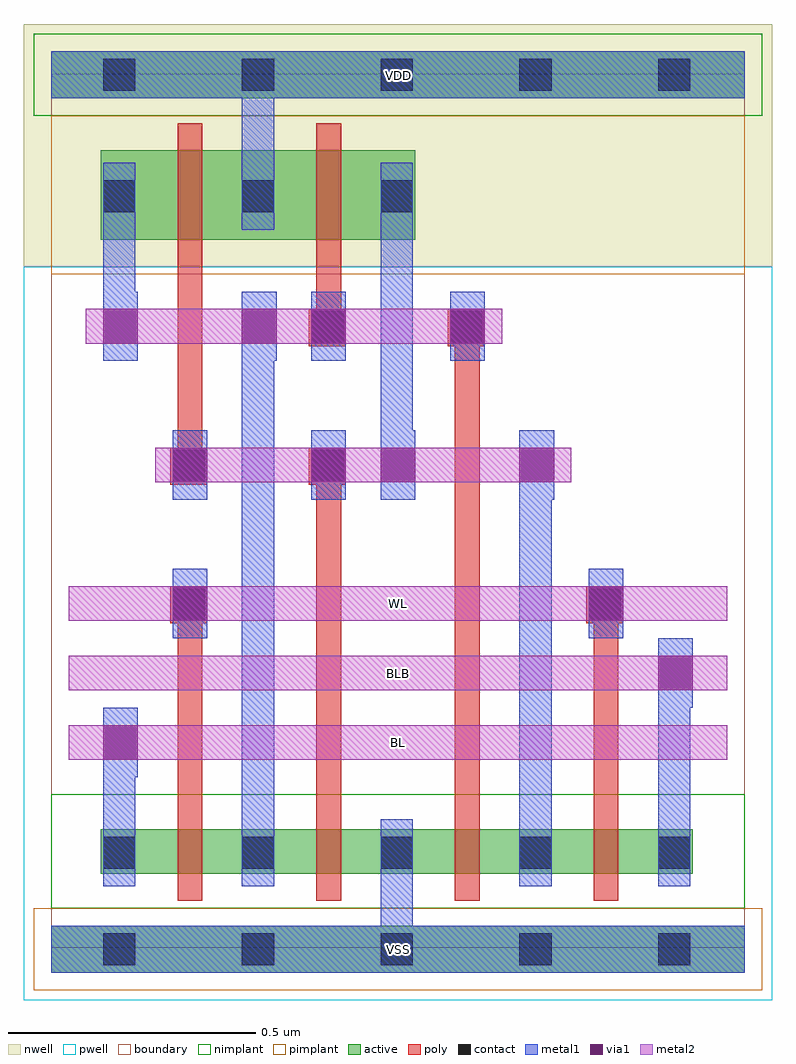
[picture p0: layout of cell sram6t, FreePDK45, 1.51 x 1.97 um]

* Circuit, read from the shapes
.subckt sram6t BL BLB VDD VSS WL
M1 n1 WL BL VSS nfet w=0.09u l=0.05u
M2 VSS n2 n1 VSS nfet w=0.09u l=0.05u
M3 n2 n1 VSS VSS nfet w=0.09u l=0.05u
M4 BLB WL n2 VSS nfet w=0.09u l=0.05u
M5 VDD n2 n1 VDD pfet w=0.18u l=0.05u
M6 n2 n1 VDD VDD pfet w=0.18u l=0.05u
.ends

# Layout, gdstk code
import gdstk
lib = gdstk.Library(unit=1e-6, precision=5e-10)
def R(c, l, rs):  # rectangles x0, y0, x1, y1
    for r in rs: c.add(gdstk.rectangle(r[:2], r[2:], *l))
def A(c, l, x, y, w, h, nx, ny, dx, dy):  # array of equal rectangles
    R(c, l, [(x+i*dx, y+j*dy, x+i*dx+w, y+j*dy+h) for i in range(nx) for j in range(ny)])
active = (1, 0)
pwell = (2, 0)
nwell = (3, 0)
nimplant = (4, 0)
pimplant = (5, 0)
poly = (9, 0)
contact = (10, 0)
metal1 = (11, 0)
via1 = (12, 0)
metal2 = (13, 0)
boundary = (235, 0)

sram6t = lib.new_cell('sram6t')
R(sram6t, active, [(0,-0.05,1.4,0.045), (0.1,0.15,1.295,0.24), (0.1,1.43,0.735,1.61), (0,1.715,1.4,1.81)])
R(sram6t, pwell, [(-0.055,-0.105,1.455,1.375)])
R(sram6t, nwell, [(-0.055,1.375,1.455,1.865)])
R(sram6t, nimplant, [(0,0.08,1.4,0.31), (-0.035,1.68,1.435,1.845)])
R(sram6t, pimplant, [(-0.035,-0.085,1.435,0.08), (0,1.36,1.4,1.68)])
A(sram6t, poly, 0.255, 0.095, 0.05, 0.2, 4, 1, 0.28, 0)
R(sram6t, poly, [(0.255,0.295,0.305,0.695), (0.535,0.295,0.585,0.975), (0.815,0.295,0.865,1.255), (1.095,0.295,1.145,0.695), (0.24,0.655,0.315,0.73), (1.08,0.655,1.155,0.73), (0.24,0.935,0.315,1.01), (0.52,0.935,0.595,1.01), (0.255,0.975,0.305,1.375), (0.52,1.215,0.595,1.29), (0.8,1.215,0.875,1.29), (0.535,1.255,0.585,1.375), (0.255,1.375,0.305,1.665), (0.535,1.375,0.585,1.665)])
A(sram6t, contact, 0.105, -0.035, 0.065, 0.065, 5, 2, 0.28, 0.195)
A(sram6t, contact, 0.105, 1.485, 0.065, 0.065, 3, 1, 0.28, 0)
A(sram6t, contact, 0.105, 1.73, 0.065, 0.065, 5, 1, 0.28, 0)
R(sram6t, contact, [(0.245,0.66,0.31,0.725), (1.085,0.66,1.15,0.725), (0.245,0.94,0.31,1.005), (0.525,0.94,0.59,1.005), (0.525,1.22,0.59,1.285), (0.805,1.22,0.87,1.285)])
A(sram6t, metal1, 0.105, 0.125, 0.065, 0.135, 5, 1, 0.28, 0)
A(sram6t, metal1, 0.105, 1.45, 0.065, 0.135, 3, 1, 0.28, 0)
R(sram6t, metal1, [(0,-0.05,1.4,0.045), (0.665,0,0.73,0.125), (0.105,0.26,0.17,0.415), (0.385,0.26,0.45,1.255), (0.945,0.26,1.01,0.975), (1.225,0.26,1.29,0.555), (0.105,0.345,0.175,0.485), (1.225,0.485,1.295,0.625), (0.245,0.625,0.315,0.765), (1.085,0.625,1.155,0.765), (0.245,0.905,0.315,1.045), (0.525,0.905,0.595,1.045), (0.665,0.905,0.735,1.045), (0.945,0.905,1.015,1.045), (0.665,0.975,0.73,1.45), (0.105,1.185,0.175,1.325), (0.385,1.185,0.455,1.325), (0.525,1.185,0.595,1.325), (0.805,1.185,0.875,1.325), (0.105,1.255,0.17,1.45), (0.385,1.585,0.45,1.765), (0,1.715,1.4,1.81)])
R(sram6t, via1, [(0.105,0.38,0.175,0.45), (1.225,0.52,1.295,0.59), (0.245,0.66,0.315,0.73), (1.085,0.66,1.155,0.73), (0.245,0.94,0.315,1.01), (0.525,0.94,0.595,1.01), (0.665,0.94,0.735,1.01), (0.945,0.94,1.015,1.01), (0.105,1.22,0.175,1.29), (0.385,1.22,0.455,1.29), (0.525,1.22,0.595,1.29), (0.805,1.22,0.875,1.29)])
A(sram6t, metal2, 0.035, 0.38, 1.33, 0.07, 1, 3, 0, 0.14)
R(sram6t, metal2, [(0.07,0.38,0.21,0.45), (1.19,0.52,1.33,0.59), (0.21,0.66,0.35,0.73), (1.05,0.66,1.19,0.73), (0.21,0.94,0.35,1.01), (0.28,0.94,0.98,1.01), (0.49,0.94,0.63,1.01), (0.63,0.94,0.77,1.01), (0.91,0.94,1.05,1.01), (0.07,1.22,0.21,1.29), (0.14,1.22,0.84,1.29), (0.35,1.22,0.49,1.29), (0.49,1.22,0.63,1.29), (0.77,1.22,0.91,1.29)])
R(sram6t, boundary, [(0,0,1.4,1.765)])
sram6t.add(gdstk.Label('VSS', (0.7,-0.003), layer=11, texttype=1))
sram6t.add(gdstk.Label('VDD', (0.7,1.762), layer=11, texttype=1))
sram6t.add(gdstk.Label('BL', (0.7,0.415), layer=13, texttype=1))
sram6t.add(gdstk.Label('BLB', (0.7,0.555), layer=13, texttype=1))
sram6t.add(gdstk.Label('WL', (0.7,0.695), layer=13, texttype=1))

lib.write_gds('sram6t.gds')
